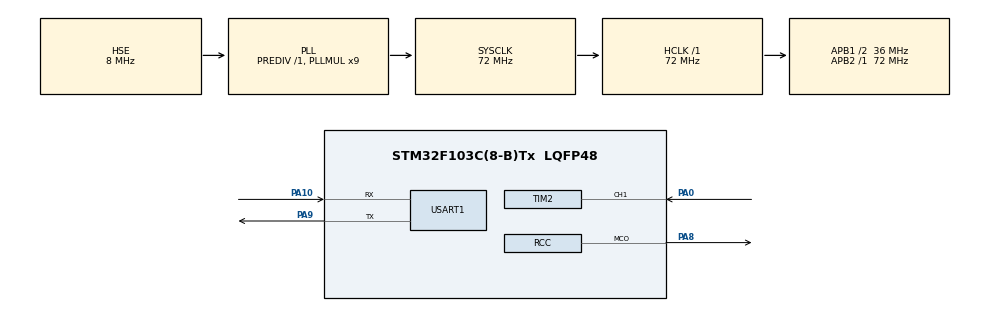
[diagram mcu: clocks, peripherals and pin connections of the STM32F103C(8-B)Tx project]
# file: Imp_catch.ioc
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Mcu.Family=STM32F1
Mcu.Name=STM32F103C(8-B)Tx
Mcu.Package=LQFP48
NVIC.PriorityGroup=NVIC_PRIORITYGROUP_4
NVIC.TIM2_IRQn=true\:0\:0\:false\:false\:true\:true\:true\:true
PA0-WKUP.Signal=S_TIM2_CH1_ETR
PA10.Mode=Asynchronous
PA10.Signal=USART1_RX
PA13.Mode=Serial_Wire
PA13.Signal=SYS_JTMS-SWDIO
PA14.Mode=Serial_Wire
PA14.Signal=SYS_JTCK-SWCLK
PA8.GPIO_Speed=GPIO_SPEED_FREQ_HIGH
PA8.Mode=Clock-out
PA8.Signal=RCC_MCO
PA9.Mode=Asynchronous
PA9.Signal=USART1_TX
PD0-OSC_IN.Mode=HSE-External-Oscillator
PD0-OSC_IN.Signal=RCC_OSC_IN
PD1-OSC_OUT.Mode=HSE-External-Oscillator
PD1-OSC_OUT.Signal=RCC_OSC_OUT
ProjectManager.HeapSize=0x200
ProjectManager.StackSize=0x400
ProjectManager.TargetToolchain=STM32CubeIDE
RCC.AHBFreq_Value=72000000
RCC.APB1CLKDivider=RCC_HCLK_DIV2
RCC.APB1Freq_Value=36000000
RCC.APB1TimFreq_Value=72000000
RCC.APB2Freq_Value=72000000
RCC.APB2TimFreq_Value=72000000
RCC.HCLKFreq_Value=72000000
RCC.PLLMUL=RCC_PLL_MUL9
RCC.PLLSourceVirtual=RCC_PLLSOURCE_HSE
RCC.RCC_MCOSource=RCC_MCO1SOURCE_HSE
RCC.SYSCLKFreq_VALUE=72000000
RCC.SYSCLKSource=RCC_SYSCLKSOURCE_PLLCLK
RCC.USBFreq_Value=72000000
SH.S_TIM2_CH1_ETR.0=TIM2_CH1,Input_Capture1_from_TI1
TIM2.AutoReloadPreload=TIM_AUTORELOAD_PRELOAD_ENABLE
TIM2.Channel-Input_Capture1_from_TI1=TIM_CHANNEL_1
TIM2.CounterMode=TIM_COUNTERMODE_UP
TIM2.Period=65535
TIM2.Prescaler=0
TIM2.TIM_MasterOutputTrigger=TIM_TRGO_RESET
TIM2.TIM_MasterSlaveMode=TIM_MASTERSLAVEMODE_DISABLE
USART1.VirtualMode=VM_ASYNC
VP_TIM2_VS_ClockSourceINT.Mode=Internal
board=custom

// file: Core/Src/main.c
/* USER CODE BEGIN Header */
/**
  ******************************************************************************
  * @file           : main.c
  * @brief          : Main program body
  ******************************************************************************
  * @attention
  *
  * Copyright (c) 2022 STMicroelectronics.
  * All rights reserved.
  *
  * This software is licensed under terms that can be found in the LICENSE file
  * in the root directory of this software component.
  * If no LICENSE file comes with this software, it is provided AS-IS.
  *
  ******************************************************************************
  */
/* USER CODE END Header */
#include "main.h"

/* USER CODE BEGIN Includes */
#include <string.h>
#include <stdio.h>
/* USER CODE END Includes */

/* USER CODE BEGIN PD */
#define IDLE   0
#define DONE   1
#define F_CLK  72000000UL

volatile uint8_t gu8_State = IDLE;
volatile uint8_t gu8_MSG[35] = {'\0'};
volatile uint32_t gu32_T1 = 0;
volatile uint32_t gu32_T2 = 0;
volatile uint32_t gu32_Ticks = 0;
volatile uint16_t gu16_TIM2_OVC = 0;
volatile uint32_t gu32_Freq = 0;
/* USER CODE END PD */

 TIM_HandleTypeDef htim2;

UART_HandleTypeDef huart1;

/* USER CODE BEGIN PV */
 char trans_str[64] = {0,};
 volatile uint8_t count_overflow = 0;
 long int count_periods = 0;
 long int count_lenght_impuls = 0;
 long unsigned int T = 0;
 long unsigned int i = 0;
/* USER CODE END PV */

void SystemClock_Config(void);
static void MX_GPIO_Init(void);
static void MX_USART1_UART_Init(void);
static void MX_TIM2_Init(void);

/* USER CODE BEGIN 0 */

void HAL_TIM_PeriodElapsedCallback(TIM_HandleTypeDef* htim)
{
    gu16_TIM2_OVC++;
}

void HAL_TIM_IC_CaptureCallback(TIM_HandleTypeDef *htim) // колбек по захвату
{
	if(gu8_State == IDLE)
	    {
	        gu32_T1 = TIM2->CCR1;
	        gu16_TIM2_OVC = 0;
	        gu8_State = DONE;
	    }
	    else if(gu8_State == DONE)
	    {
	        gu32_T2 = TIM2->CCR1;
	        gu32_Ticks = (gu32_T2 + (gu16_TIM2_OVC * 65536)) - gu32_T1;
	        gu32_Freq = (uint32_t)(F_CLK/gu32_Ticks);
	        if(gu32_Freq != 0)
	        {
	            snprintf(trans_str, 63, "Pulse %lu mks\n", gu32_Freq);
	            HAL_UART_Transmit(&huart1, (uint8_t*)trans_str, strlen(trans_str), 1000);
	        }
	        gu8_State = IDLE;
	    }
}
/* USER CODE END 0 */

int main(void)
{

  /* MCU Configuration--------------------------------------------------------*/

  /* Reset of all peripherals, Initializes the Flash interface and the Systick. */
  HAL_Init();

  /* USER CODE BEGIN Init */
  //DWT_Init();
  /* USER CODE END Init */

  /* Configure the system clock */
  SystemClock_Config();

  /* Initialize all configured peripherals */
  MX_GPIO_Init();
  MX_USART1_UART_Init();
  MX_TIM2_Init();
  /* USER CODE BEGIN 2 */
  HAL_TIM_Base_Start_IT(&htim2);
  HAL_TIM_IC_Start_IT(&htim2, TIM_CHANNEL_1);
  /* USER CODE END 2 */

  /* Infinite loop */
  while (1)
  {

  }
}

void SystemClock_Config(void)
{
  RCC_OscInitTypeDef RCC_OscInitStruct = {0};
  RCC_ClkInitTypeDef RCC_ClkInitStruct = {0};

  /** Initializes the RCC Oscillators according to the specified parameters
  * in the RCC_OscInitTypeDef structure.
  */
  RCC_OscInitStruct.OscillatorType = RCC_OSCILLATORTYPE_HSE;
  RCC_OscInitStruct.HSEState = RCC_HSE_ON;
  RCC_OscInitStruct.HSEPredivValue = RCC_HSE_PREDIV_DIV1;
  RCC_OscInitStruct.HSIState = RCC_HSI_ON;
  RCC_OscInitStruct.PLL.PLLState = RCC_PLL_ON;
  RCC_OscInitStruct.PLL.PLLSource = RCC_PLLSOURCE_HSE;
  RCC_OscInitStruct.PLL.PLLMUL = RCC_PLL_MUL9;
  if (HAL_RCC_OscConfig(&RCC_OscInitStruct) != HAL_OK)
  {
    Error_Handler();
  }

  /** Initializes the CPU, AHB and APB buses clocks
  */
  RCC_ClkInitStruct.ClockType = RCC_CLOCKTYPE_HCLK|RCC_CLOCKTYPE_SYSCLK
                              |RCC_CLOCKTYPE_PCLK1|RCC_CLOCKTYPE_PCLK2;
  RCC_ClkInitStruct.SYSCLKSource = RCC_SYSCLKSOURCE_PLLCLK;
  RCC_ClkInitStruct.AHBCLKDivider = RCC_SYSCLK_DIV1;
  RCC_ClkInitStruct.APB1CLKDivider = RCC_HCLK_DIV2;
  RCC_ClkInitStruct.APB2CLKDivider = RCC_HCLK_DIV1;

  if (HAL_RCC_ClockConfig(&RCC_ClkInitStruct, FLASH_LATENCY_2) != HAL_OK)
  {
    Error_Handler();
  }
  HAL_RCC_MCOConfig(RCC_MCO, RCC_MCO1SOURCE_HSE, RCC_MCODIV_1);
}

static void MX_TIM2_Init(void)
{

  TIM_ClockConfigTypeDef sClockSourceConfig = {0};
  TIM_MasterConfigTypeDef sMasterConfig = {0};
  TIM_IC_InitTypeDef sConfigIC = {0};

  htim2.Instance = TIM2;
  htim2.Init.Prescaler = 0;
  htim2.Init.CounterMode = TIM_COUNTERMODE_UP;
  htim2.Init.Period = 65535;
  htim2.Init.ClockDivision = TIM_CLOCKDIVISION_DIV1;
  htim2.Init.AutoReloadPreload = TIM_AUTORELOAD_PRELOAD_ENABLE;
  if (HAL_TIM_Base_Init(&htim2) != HAL_OK)
  {
    Error_Handler();
  }
  sClockSourceConfig.ClockSource = TIM_CLOCKSOURCE_INTERNAL;
  if (HAL_TIM_ConfigClockSource(&htim2, &sClockSourceConfig) != HAL_OK)
  {
    Error_Handler();
  }
  if (HAL_TIM_IC_Init(&htim2) != HAL_OK)
  {
    Error_Handler();
  }
  sMasterConfig.MasterOutputTrigger = TIM_TRGO_RESET;
  sMasterConfig.MasterSlaveMode = TIM_MASTERSLAVEMODE_DISABLE;
  if (HAL_TIMEx_MasterConfigSynchronization(&htim2, &sMasterConfig) != HAL_OK)
  {
    Error_Handler();
  }
  sConfigIC.ICPolarity = TIM_INPUTCHANNELPOLARITY_RISING;
  sConfigIC.ICSelection = TIM_ICSELECTION_DIRECTTI;
  sConfigIC.ICPrescaler = TIM_ICPSC_DIV1;
  sConfigIC.ICFilter = 0;
  if (HAL_TIM_IC_ConfigChannel(&htim2, &sConfigIC, TIM_CHANNEL_1) != HAL_OK)
  {
    Error_Handler();
  }

}

static void MX_USART1_UART_Init(void)
{

  huart1.Instance = USART1;
  huart1.Init.BaudRate = 115200;
  huart1.Init.WordLength = UART_WORDLENGTH_8B;
  huart1.Init.StopBits = UART_STOPBITS_1;
  huart1.Init.Parity = UART_PARITY_NONE;
  huart1.Init.Mode = UART_MODE_TX_RX;
  huart1.Init.HwFlowCtl = UART_HWCONTROL_NONE;
  huart1.Init.OverSampling = UART_OVERSAMPLING_16;
  if (HAL_UART_Init(&huart1) != HAL_OK)
  {
    Error_Handler();
  }

}

static void MX_GPIO_Init(void)
{
  GPIO_InitTypeDef GPIO_InitStruct = {0};

  /* GPIO Ports Clock Enable */
  __HAL_RCC_GPIOD_CLK_ENABLE();
  __HAL_RCC_GPIOA_CLK_ENABLE();

  /*Configure GPIO pin : PA8 */
  GPIO_InitStruct.Pin = GPIO_PIN_8;
  GPIO_InitStruct.Mode = GPIO_MODE_AF_PP;
  GPIO_InitStruct.Speed = GPIO_SPEED_FREQ_HIGH;
  HAL_GPIO_Init(GPIOA, &GPIO_InitStruct);

}

void Error_Handler(void)
{
  __disable_irq();
  while (1)
  {
  }
}
